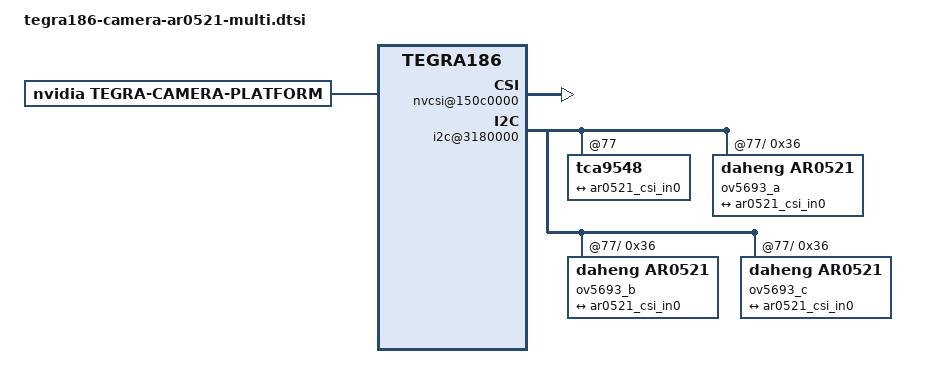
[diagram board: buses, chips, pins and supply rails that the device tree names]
/*
 * Copyright (c) 2015-2017, NVIDIA CORPORATION.  All rights reserved.
 *
 * This program is free software; you can redistribute it and/or modify
 * it under the terms of the GNU General Public License as published by
 * the Free Software Foundation; either version 2 of the License, or
 * (at your option) any later version.
 *
 * This program is distributed in the hope that it will be useful, but WITHOUT
 * ANY WARRANTY; without even the implied warranty of MERCHANTABILITY or
 * FITNESS FOR A PARTICULAR PURPOSE.  See the GNU General Public License for
 * more details.
 *
 * You should have received a copy of the GNU General Public License
 * along with this program.  If not, see <http://www.gnu.org/licenses/>.
 */

/ {
	host1x {
		vi@15700000 {
			status = "okay";
			num-channels = <3>;
			ports {
				#address-cells = <1>;
				#size-cells = <0>;
				port@0 {
					status = "okay";
					reg = <0>;
					ar0521_vi_in0: endpoint {
						status = "okay";
						csi-port = <0>;
						bus-width = <4>;
						remote-endpoint = <&e3333_csi_out0>;
					};
				};
				port@1 {
					status = "okay";
					reg = <1>;
					ar0521_vi_in1: endpoint {
						status = "okay";
						csi-port = <2>;
						bus-width = <4>;
						remote-endpoint = <&e3333_csi_out1>;
					};
				};
				port@2 {
					status = "okay";
					reg = <2>;
					ar0521_vi_in2: endpoint {
						status = "okay";
						csi-port = <4>;
						bus-width = <4>;
						remote-endpoint = <&e3333_csi_out2>;
					};
				};
			};
		};

		nvcsi@150c0000 {
			status = "okay";
			num-channels = <3>;
			channel@0 {
				status = "okay";
				reg = <0>;
				ports {
					#address-cells = <1>;
					#size-cells = <0>;
					port@0 {
						status = "okay";
						reg = <0>;
						e3333_csi_in0: endpoint@0 {
							status = "okay";
							csi-port = <0>;
							bus-width = <4>;
							remote-endpoint = <&ar0521_out0>;
						};
					};
					port@1 {
						status = "okay";
						reg = <1>;
						e3333_csi_out0: endpoint@1 {
							status = "okay";
							remote-endpoint = <&ar0521_vi_in0>;
						};
					};
				};
			};
			channel@1 {
				status = "okay";
				reg = <1>;
				ports {
					#address-cells = <1>;
					#size-cells = <0>;
					port@0 {
						status = "okay";
						reg = <0>;
						e3333_csi_in1: endpoint@2 {
							status = "okay";
							csi-port = <2>;
							bus-width = <4>;
							remote-endpoint = <&ar0521_out1>;
						};
					};
					port@1 {
						status = "okay";
						reg = <1>;
						e3333_csi_out1: endpoint@3 {
							status = "okay";
							remote-endpoint = <&ar0521_vi_in1>;
						};
					};
				};
			};
			channel@2 {
				status = "okay";
				reg = <2>;
				ports {
					#address-cells = <1>;
					#size-cells = <0>;
					port@0 {
						status = "okay";
						reg = <0>;
						e3333_csi_in2: endpoint@4 {
							status = "okay";
							csi-port = <4>;
							bus-width = <4>;
							remote-endpoint = <&ar0521_out2>;
						};
					};
					port@1 {	
						status = "okay";
						reg = <1>;
						e3333_csi_out2: endpoint@5 {
							status = "okay";
							remote-endpoint = <&ar0521_vi_in2>;
						};
					};
				};
			};
		};
	};

	i2c@3180000 {
		tca9548@77 {
			i2c@0 {
				ov5693_a@36 {
					status = "okay";
					compatible = "daheng,ar0521";
					/* I2C device address */
					reg = <0x36>;

					/* V4L2 device node location */
					devnode = "video0";

					/* Physical dimensions of sensor */
					physical_w = "3.674";
					physical_h = "2.738";

					/* Define any required hw resources needed by driver */
					/* ie. clocks, io pins, power sources */
					avdd-reg = "vana";
					iovdd-reg = "vif";

					/* Sensor output flip settings */
					vertical-flip = "true";

					/**
					* A modeX node is required to support v4l2 driver
					* implementation with NVIDIA camera software stack
					*
					* mclk_khz = "";
					* Standard MIPI driving clock, typically 24MHz
					*
					* num_lanes = "";
					* Number of lane channels sensor is programmed to output
					*
					* tegra_sinterface = "";
					* The base tegra serial interface lanes are connected to
					*
					* discontinuous_clk = "";
					* The sensor is programmed to use a discontinuous clock on MIPI lanes
					*
					* dpcm_enable = "true";
					* The sensor is programmed to use a DPCM modes
					*
					* cil_settletime = "";
					* MIPI lane settle time value.
					* A "0" value attempts to autocalibrate based on mclk_multiplier
					*
					*
					*
					*
					* active_w = "";
					* Pixel active region width
					*
					* active_h = "";
					* Pixel active region height
					*
					* pixel_t = "";
					* The sensor readout pixel pattern
					*
					* readout_orientation = "0";
					* Based on camera module orientation.
					* Only change readout_orientation if you specifically
					* Program a different readout order for this mode
					*
					* line_length = "";
					* Pixel line length (width) for sensor mode.
					* This is used to calibrate features in our camera stack.
					*
					* mclk_multiplier = "";
					* Multiplier to MCLK to help time hardware capture sequence
					* TODO: Assign to PLL_Multiplier as well until fixed in core
					*
					* pix_clk_hz = "";
					* Sensor pixel clock used for calculations like exposure and framerate
					*
					*
					*
					*
					* inherent_gain = "";
					* Gain obtained inherently from mode (ie. pixel binning)
					*
					* min_gain_val = ""; (floor to 6 decimal places)
					* max_gain_val = ""; (floor to 6 decimal places)
					* Gain limits for mode
					*
					* min_exp_time = ""; (ceil to integer)
					* max_exp_time = ""; (ceil to integer)
					* Exposure Time limits for mode (us)
					*
					*
					* min_hdr_ratio = "";
					* max_hdr_ratio = "";
					* HDR Ratio limits for mode
					*
					* min_framerate = "";
					* max_framerate = "";
					* Framerate limits for mode (fps)
					*/
					mode0 { // AR0521_MODE_2592X1944
						mclk_khz = "27000";
						num_lanes = "4";
						tegra_sinterface = "serial_a";
						discontinuous_clk = "no";
						dpcm_enable = "false";
						cil_settletime = "0";

						active_w = "2592";
						active_h = "1944";
						pixel_t = "bayer_rggb";
						readout_orientation = "90";
						line_length = "2688";
						inherent_gain = "1";
						mclk_multiplier = "5.93";
						pix_clk_hz = "160000000";

						min_gain_val = "1.0";
						max_gain_val = "16";
						min_hdr_ratio = "1";
						max_hdr_ratio = "64";
						min_framerate = "1.816577";
						max_framerate = "30";
						min_exp_time = "34";
						max_exp_time = "550385";
					};

					mode1 { //AR0521_MODE_1920X1080
						mclk_khz = "27000";
						num_lanes = "4";
						tegra_sinterface = "serial_a";
						discontinuous_clk = "no";
						dpcm_enable = "false";
						cil_settletime = "0";

						active_w = "1920";
						active_h = "1080";
						pixel_t = "bayer_bggr";
						readout_orientation = "90";
						line_length = "2300";
						inherent_gain = "1";
						mclk_multiplier = "7.67";
						pix_clk_hz = "207000000";

						min_gain_val = "1.0";
						max_gain_val = "16";
						min_hdr_ratio = "1";
						max_hdr_ratio = "64";
						min_framerate = "2.787078";
						max_framerate = "120";
						min_exp_time = "22";
						max_exp_time = "358733";
					};

					ports {
						#address-cells = <1>;
						#size-cells = <0>;

						port@0 {
							status = "okay";
							reg = <0>;
							ar0521_out0: endpoint {
								status = "okay";
								csi-port = <0>;
								bus-width = <4>;
								remote-endpoint = <&ar0521_csi_in0>;
							};
						};
					};
				};
			};

			i2c@1 {
				ov5693_b@36 {
					status = "okay";
					compatible = "daheng,ar0521";
					/* I2C device address */
					reg = <0x36>;

					/* V4L2 device node location */
					devnode = "video1";

					/* Physical dimensions of sensor */
					physical_w = "3.674";
					physical_h = "2.738";

					/* Define any required hw resources needed by driver */
					/* ie. clocks, io pins, power sources */
					avdd-reg = "vana";
					iovdd-reg = "vif";

					/* Sensor output flip settings */
					vertical-flip = "true";

					mode0 { // AR0521_MODE_2592X1944
						mclk_khz = "27000";
						num_lanes = "4";
						tegra_sinterface = "serial_a";
						discontinuous_clk = "no";
						dpcm_enable = "false";
						cil_settletime = "0";

						active_w = "2592";
						active_h = "1944";
						pixel_t = "bayer_rggb";
						readout_orientation = "90";
						line_length = "2688";
						inherent_gain = "1";
						mclk_multiplier = "5.93";
						pix_clk_hz = "160000000";

						min_gain_val = "1.0";
						max_gain_val = "16";
						min_hdr_ratio = "1";
						max_hdr_ratio = "64";
						min_framerate = "1.816577";
						max_framerate = "30";
						min_exp_time = "34";
						max_exp_time = "550385";
					};

					mode1 { //AR0521_MODE_1920X1080
						mclk_khz = "27000";
						num_lanes = "4";
						tegra_sinterface = "serial_a";
						discontinuous_clk = "no";
						dpcm_enable = "false";
						cil_settletime = "0";

						active_w = "1920";
						active_h = "1080";
						pixel_t = "bayer_bggr";
						readout_orientation = "90";
						line_length = "2300";
						inherent_gain = "1";
						mclk_multiplier = "7.67";
						pix_clk_hz = "207000000";

						min_gain_val = "1.0";
						max_gain_val = "16";
						min_hdr_ratio = "1";
						max_hdr_ratio = "64";
						min_framerate = "2.787078";
						max_framerate = "120";
						min_exp_time = "22";
						max_exp_time = "358733";
					};

					ports {
						#address-cells = <1>;
						#size-cells = <0>;

						port@0 {
							status = "okay";
							reg = <0>;
							ar0521_out1: endpoint {
								status = "okay";
								csi-port = <0>;
								bus-width = <4>;
								remote-endpoint = <&ar0521_csi_in0>;
							};
						};
					};
				};
			};

			i2c@2 {
				ov5693_c@36 {
					status = "okay";
					compatible = "daheng,ar0521";
					/* I2C device address */
					reg = <0x36>;

					/* V4L2 device node location */
					devnode = "video2";

					/* Physical dimensions of sensor */
					physical_w = "3.674";
					physical_h = "2.738";

					/* Define any required hw resources needed by driver */
					/* ie. clocks, io pins, power sources */
					avdd-reg = "vana";
					iovdd-reg = "vif";

					/* Sensor output flip settings */
					vertical-flip = "true";

					mode0 { // AR0521_MODE_2592X1944
						mclk_khz = "27000";
						num_lanes = "4";
						tegra_sinterface = "serial_a";
						discontinuous_clk = "no";
						dpcm_enable = "false";
						cil_settletime = "0";

						active_w = "2592";
						active_h = "1944";
						pixel_t = "bayer_rggb";
						readout_orientation = "90";
						line_length = "2688";
						inherent_gain = "1";
						mclk_multiplier = "5.93";
						pix_clk_hz = "160000000";

						min_gain_val = "1.0";
						max_gain_val = "16";
						min_hdr_ratio = "1";
						max_hdr_ratio = "64";
						min_framerate = "1.816577";
						max_framerate = "30";
						min_exp_time = "34";
						max_exp_time = "550385";
					};

					mode1 { //AR0521_MODE_1920X1080
						mclk_khz = "27000";
						num_lanes = "4";
						tegra_sinterface = "serial_a";
						discontinuous_clk = "no";
						dpcm_enable = "false";
						cil_settletime = "0";

						active_w = "1920";
						active_h = "1080";
						pixel_t = "bayer_bggr";
						readout_orientation = "90";
						line_length = "2300";
						inherent_gain = "1";
						mclk_multiplier = "7.67";
						pix_clk_hz = "207000000";

						min_gain_val = "1.0";
						max_gain_val = "16";
						min_hdr_ratio = "1";
						max_hdr_ratio = "64";
						min_framerate = "2.787078";
						max_framerate = "120";
						min_exp_time = "22";
						max_exp_time = "358733";
					};

					ports {
						#address-cells = <1>;
						#size-cells = <0>;

						port@0 {
							status = "okay";
							reg = <0>;
							ar0521_out2: endpoint {
								status = "okay";
								csi-port = <0>;
								bus-width = <4>;
								remote-endpoint = <&ar0521_csi_in0>;
							};
						};
					};
				};
			};
		};
	};

	tegra-camera-platform {
		compatible = "nvidia, tegra-camera-platform";
		/**
		* Physical settings to calculate max ISO BW
		*
		* num_csi_lanes = <>;
		* Total number of CSI lanes when all cameras are active
		*
		* max_lane_speed = <>;
		* Max lane speed in Kbit/s
		*
		* min_bits_per_pixel = <>;
		* Min bits per pixel
		*
		* vi_peak_byte_per_pixel = <>;
		* Max byte per pixel for the VI ISO case
		*
		* vi_bw_margin_pct = <>;
		* Vi bandwidth margin in percentage
		*
		* max_pixel_rate = <>;
		* Max pixel rate in Kpixel/s for the ISP ISO case
		* Set this to the highest pix_clk_hz out of all available modes.
		*
		* isp_peak_byte_per_pixel = <>;
		* Max byte per pixel for the ISP ISO case
		*
		* isp_bw_margin_pct = <>;
		* Isp bandwidth margin in percentage
		*/
		status = "okay";
		num_csi_lanes = <12>;
		max_lane_speed = <1500000>;
		min_bits_per_pixel = <10>;
		vi_peak_byte_per_pixel = <2>;
		vi_bw_margin_pct = <25>;
		max_pixel_rate = <160000>;
		isp_peak_byte_per_pixel = <5>;
		isp_bw_margin_pct = <25>;

		/**
		* The general guideline for naming badge_info contains 3 parts, and is as follows,
		* The first part is the camera_board_id for the module; if the module is in a FFD
		* platform, then use the platform name for this part.
		* The second part contains the position of the module, ex. “rear” or “front”.
		* The third part contains the last 6 characters of a part number which is found
		* in the module's specsheet from the vender.
		*/
		modules {
			module0 {
				badge = "e3333_bottomleft_P5V27C";
				position = "bottomleft";
				orientation = "1";
				drivernode0 {
					pcl_id = "v4l2_sensor";
					devname = "ov5693 30-0036";
					proc-device-tree = "/proc/device-tree/i2c@3180000/tca9548@77/i2c@0/ov5693_a@36";
				};
			};
			module1 {
				badge = "e3333_centerleft_P5V27C";
				position = "centerleft";
				orientation = "1";
				drivernode0 {
					pcl_id = "v4l2_sensor";
					devname = "ov5693 31-0036";
					proc-device-tree = "/proc/device-tree/i2c@3180000/tca9548@77/i2c@1/ov5693_b@36";
				};
			};
			module2 {
				badge = "e3333_centerright_P5V27C";
				position = "centerright";
				orientation = "1";
				drivernode0 {
					pcl_id = "v4l2_sensor";
					devname = "ov5693 32-0036";
					proc-device-tree = "/proc/device-tree/i2c@3180000/tca9548@77/i2c@2/ov5693_c@36";
				};
			};
		};
	};
};
